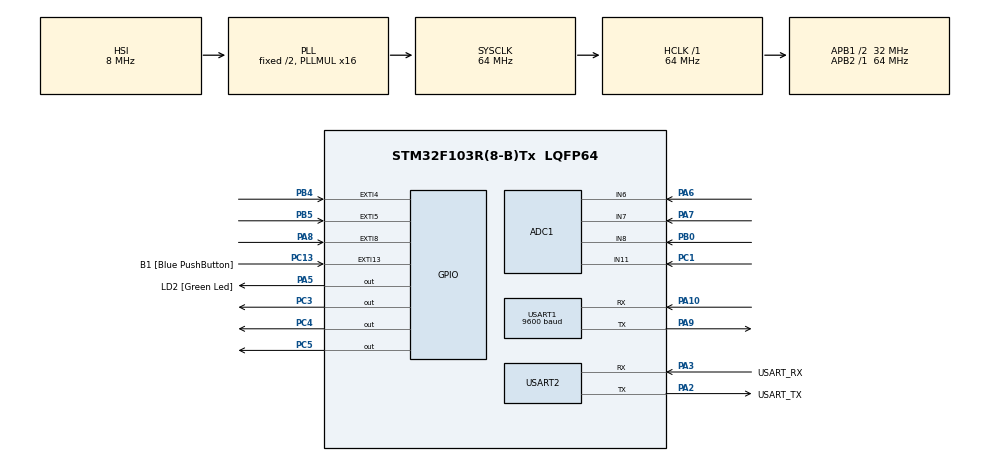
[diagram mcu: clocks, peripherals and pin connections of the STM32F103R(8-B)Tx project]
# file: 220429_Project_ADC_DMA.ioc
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ADC1.Channel-0\#ChannelRegularConversion=ADC_CHANNEL_6
ADC1.Channel-1\#ChannelRegularConversion=ADC_CHANNEL_7
ADC1.Channel-2\#ChannelRegularConversion=ADC_CHANNEL_8
ADC1.Channel-3\#ChannelRegularConversion=ADC_CHANNEL_11
ADC1.ContinuousConvMode=ENABLE
ADC1.NbrOfConversion=4
ADC1.NbrOfConversionFlag=1
ADC1.Rank-0\#ChannelRegularConversion=1
ADC1.Rank-1\#ChannelRegularConversion=2
ADC1.Rank-2\#ChannelRegularConversion=3
ADC1.Rank-3\#ChannelRegularConversion=4
ADC1.SamplingTime-0\#ChannelRegularConversion=ADC_SAMPLETIME_239CYCLES_5
ADC1.SamplingTime-1\#ChannelRegularConversion=ADC_SAMPLETIME_239CYCLES_5
ADC1.SamplingTime-2\#ChannelRegularConversion=ADC_SAMPLETIME_239CYCLES_5
ADC1.SamplingTime-3\#ChannelRegularConversion=ADC_SAMPLETIME_239CYCLES_5
ADC1.master=1
Dma.ADC1.0.Direction=DMA_PERIPH_TO_MEMORY
Dma.ADC1.0.Instance=DMA1_Channel1
Dma.ADC1.0.MemDataAlignment=DMA_MDATAALIGN_WORD
Dma.ADC1.0.MemInc=DMA_MINC_ENABLE
Dma.ADC1.0.Mode=DMA_CIRCULAR
Dma.ADC1.0.PeriphDataAlignment=DMA_PDATAALIGN_WORD
Dma.ADC1.0.PeriphInc=DMA_PINC_DISABLE
Dma.ADC1.0.Priority=DMA_PRIORITY_LOW
Dma.Request0=ADC1
Mcu.Family=STM32F1
Mcu.Name=STM32F103R(8-B)Tx
Mcu.Package=LQFP64
NVIC.DMA1_Channel1_IRQn=true\:0\:0\:false\:false\:true\:false\:true\:true
NVIC.EXTI15_10_IRQn=true\:0\:0\:false\:false\:true\:true\:true\:true
NVIC.EXTI4_IRQn=true\:0\:0\:false\:false\:true\:true\:true\:true
NVIC.EXTI9_5_IRQn=true\:0\:0\:false\:false\:true\:true\:true\:true
NVIC.PriorityGroup=NVIC_PRIORITYGROUP_4
PA10.Mode=Asynchronous
PA10.Signal=USART1_RX
PA13.GPIO_Label=TMS
PA13.Mode=Serial_Wire
PA13.Signal=SYS_JTMS-SWDIO
PA14.GPIO_Label=TCK
PA14.Mode=Serial_Wire
PA14.Signal=SYS_JTCK-SWCLK
PA2.GPIO_Label=USART_TX
PA2.GPIO_Mode=GPIO_MODE_AF_PP
PA2.GPIO_PuPd=GPIO_NOPULL
PA2.GPIO_Speed=GPIO_SPEED_FREQ_LOW
PA2.Mode=Asynchronous
PA2.Signal=USART2_TX
PA3.GPIO_Label=USART_RX
PA3.GPIO_Mode=GPIO_MODE_AF_PP
PA3.GPIO_PuPd=GPIO_NOPULL
PA3.GPIO_Speed=GPIO_SPEED_FREQ_LOW
PA3.Mode=Asynchronous
PA3.Signal=USART2_RX
PA5.GPIO_Label=LD2 [Green Led]
PA5.GPIO_ModeDefaultOutputPP=GPIO_MODE_OUTPUT_PP
PA5.GPIO_PuPd=GPIO_NOPULL
PA5.GPIO_Speed=GPIO_SPEED_FREQ_LOW
PA5.Signal=GPIO_Output
PA6.Signal=ADCx_IN6
PA7.Signal=ADCx_IN7
PA8.Signal=GPXTI8
PA9.Mode=Asynchronous
PA9.Signal=USART1_TX
PB0.Signal=ADCx_IN8
PB3.GPIO_Label=SWO
PB3.Signal=SYS_JTDO-TRACESWO
PB4.Signal=GPXTI4
PB5.Signal=GPXTI5
PC1.Signal=ADCx_IN11
PC13-TAMPER-RTC.GPIO_Label=B1 [Blue PushButton]
PC13-TAMPER-RTC.GPIO_PuPd=GPIO_NOPULL
PC13-TAMPER-RTC.Signal=GPXTI13
PC14-OSC32_IN.Mode=LSE-External-Oscillator
PC14-OSC32_IN.Signal=RCC_OSC32_IN
PC15-OSC32_OUT.Mode=LSE-External-Oscillator
PC15-OSC32_OUT.Signal=RCC_OSC32_OUT
PC3.Signal=GPIO_Output
PC4.Signal=GPIO_Output
PC5.Signal=GPIO_Output
PD0-OSC_IN.Mode=HSE-External-Clock-Source
PD0-OSC_IN.Signal=RCC_OSC_IN
PD1-OSC_OUT.Mode=HSE-External-Clock-Source
PD1-OSC_OUT.Signal=RCC_OSC_OUT
ProjectManager.HeapSize=0x200
ProjectManager.StackSize=0x400
ProjectManager.TargetToolchain=STM32CubeIDE
RCC.ADCPresc=RCC_ADCPCLK2_DIV8
RCC.AHBFreq_Value=64000000
RCC.APB1CLKDivider=RCC_HCLK_DIV2
RCC.APB1Freq_Value=32000000
RCC.APB1TimFreq_Value=64000000
RCC.APB2Freq_Value=64000000
RCC.APB2TimFreq_Value=64000000
RCC.HCLKFreq_Value=64000000
RCC.PLLMUL=RCC_PLL_MUL16
RCC.RTCClockSelection=RCC_RTCCLKSOURCE_LSE
RCC.SYSCLKFreq_VALUE=64000000
RCC.SYSCLKSource=RCC_SYSCLKSOURCE_PLLCLK
RCC.USBFreq_Value=64000000
SH.ADCx_IN11.0=ADC1_IN11,IN11
SH.ADCx_IN6.0=ADC1_IN6,IN6
SH.ADCx_IN7.0=ADC1_IN7,IN7
SH.ADCx_IN8.0=ADC1_IN8,IN8
USART1.BaudRate=9600
USART1.VirtualMode=VM_ASYNC
USART2.VirtualMode=VM_ASYNC
board=NUCLEO-F103RB

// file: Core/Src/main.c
/* USER CODE BEGIN Header */
/**
  ******************************************************************************
  * @file           : main.c
  * @brief          : Main program body
  ******************************************************************************
  * @attention
  *
  * Copyright (c) 2022 STMicroelectronics.
  * All rights reserved.
  *
  * This software is licensed under terms that can be found in the LICENSE file
  * in the root directory of this software component.
  * If no LICENSE file comes with this software, it is provided AS-IS.
  *
  ******************************************************************************
  */
/* USER CODE END Header */
#include "main.h"

/* USER CODE BEGIN PTD */
#ifdef __GNUC__
/* With GCC, small printf (option LD Linker->Libraries->Small printf
   set to 'Yes') calls __io_putchar() */
#define PUTCHAR_PROTOTYPE int __io_putchar(int ch)
#else
#define PUTCHAR_PROTOTYPE int fputc(int ch, FILE *f)
#endif /* __GNUC__ */
/* USER CODE END PTD */

 ADC_HandleTypeDef hadc1;
DMA_HandleTypeDef hdma_adc1;

UART_HandleTypeDef huart1;
UART_HandleTypeDef huart2;

void SystemClock_Config(void);
static void MX_GPIO_Init(void);
static void MX_DMA_Init(void);
static void MX_USART2_UART_Init(void);
static void MX_ADC1_Init(void);
static void MX_USART1_UART_Init(void);

/* USER CODE BEGIN 0 */
//uint16_t state[4][2000] = {0};
uint16_t preVal1;
uint16_t preVal2;
uint16_t preVal3;
uint16_t preVal4;
uint16_t compare = 0;
int idx = 0;

int tx_val[5];
int dma_val[4];

void getAdc(void){
	uint16_t adcResult1 = 0;
	uint16_t adcResult2 = 0;
	uint16_t adcResult3 = 0;
	uint16_t adcResult4 = 0;
	  int nowVal1 = dma_val[0]*180/78;
	  if(nowVal1 >1800) nowVal1 = 1800;
	  if(nowVal1 >=preVal1+ 20 ||nowVal1 <=preVal1- 20) 	preVal1 = nowVal1;
	  adcResult1 = preVal1+600;

	  int nowVal2 = dma_val[1]*180/78;
	  if(nowVal2 >1800) nowVal2 = 1800;
	  if(nowVal2 >=preVal2+ 20 ||nowVal2 <=preVal2- 20) 	preVal2 = nowVal2;
	  adcResult2 = preVal2+600;

	  int nowVal3 = dma_val[2]*180/78;
	  if(nowVal3 >1800) nowVal3 = 1800;
	  if(nowVal3 >=preVal3+ 20 ||nowVal3 <=preVal2- 20) 	preVal3 = nowVal3;
	  adcResult3 = preVal3+600;

	  int nowVal4 = dma_val[3]*500/780;
	  if(nowVal4 >500) nowVal4 = 500;
	  if(nowVal4 >=preVal4+ 20 ||nowVal4 <=preVal4- 20) 	preVal4 = nowVal4;
	  adcResult4 = preVal4+600;

	  if(tx_val[0] + 1 < (3000-adcResult1)/10 || tx_val[0] - 1 > (3000-adcResult1)/10 )  tx_val[0] = (3000-adcResult1)/10;
	  if(tx_val[1] + 1 < (3000-adcResult2)/10 || tx_val[1] - 1 > (3000-adcResult2)/10 )  tx_val[1] = (3000-adcResult2)/10;
	  if(tx_val[2] + 1 < (3000-adcResult3)/10 || tx_val[2] - 1 > (3000-adcResult3)/10 )  tx_val[2] = (3000-adcResult3)/10;
	  if(tx_val[3] + 1 < (3000-adcResult4)/10 || tx_val[3] - 1 > (3000-adcResult4)/10 )  tx_val[3] = adcResult4/10;

	  TxData();
}

void TxData(void){
	  HAL_UART_Transmit(&huart1, &tx_val[0],1,100);
	  HAL_UART_Transmit(&huart1, &tx_val[1],1,100);
	  HAL_UART_Transmit(&huart1, &tx_val[2],1,100);
	  HAL_UART_Transmit(&huart1, &tx_val[3],1,100);
	  HAL_UART_Transmit(&huart1, &tx_val[4],1,100);
}
/* USER CODE END 0 */

int main(void)
{

  /* MCU Configuration--------------------------------------------------------*/

  /* Reset of all peripherals, Initializes the Flash interface and the Systick. */
  HAL_Init();

  /* Configure the system clock */
  SystemClock_Config();

  /* Initialize all configured peripherals */
  MX_GPIO_Init();
  MX_DMA_Init();
  MX_USART2_UART_Init();
  MX_ADC1_Init();
  MX_USART1_UART_Init();
  /* USER CODE BEGIN 2 */
  HAL_ADC_Start_DMA(&hadc1, dma_val, 4);
  /* USER CODE END 2 */

  /* Infinite loop */
  /* USER CODE BEGIN WHILE */
  while (1)
  {

	  tx_val[4] = compare;
	  	 if(compare ==0){
	  	    getAdc();
	    }
	  	else if(compare ==1){
	  		getAdc();
	  		printf("store....\n\r\n\r");
	  		HAL_Delay(20);
	  	}

	  	else if(compare ==2){
	  		printf("replay....\n\r\n\r");
	  		HAL_UART_Transmit(&huart1, &tx_val[4],1,100);
	  		HAL_Delay(10);
	  	}

    /* USER CODE END WHILE */

  }
}

void SystemClock_Config(void)
{
  RCC_OscInitTypeDef RCC_OscInitStruct = {0};
  RCC_ClkInitTypeDef RCC_ClkInitStruct = {0};
  RCC_PeriphCLKInitTypeDef PeriphClkInit = {0};

  /** Initializes the RCC Oscillators according to the specified parameters
  * in the RCC_OscInitTypeDef structure.
  */
  RCC_OscInitStruct.OscillatorType = RCC_OSCILLATORTYPE_HSI;
  RCC_OscInitStruct.HSIState = RCC_HSI_ON;
  RCC_OscInitStruct.HSICalibrationValue = RCC_HSICALIBRATION_DEFAULT;
  RCC_OscInitStruct.PLL.PLLState = RCC_PLL_ON;
  RCC_OscInitStruct.PLL.PLLSource = RCC_PLLSOURCE_HSI_DIV2;
  RCC_OscInitStruct.PLL.PLLMUL = RCC_PLL_MUL16;
  if (HAL_RCC_OscConfig(&RCC_OscInitStruct) != HAL_OK)
  {
    Error_Handler();
  }

  /** Initializes the CPU, AHB and APB buses clocks
  */
  RCC_ClkInitStruct.ClockType = RCC_CLOCKTYPE_HCLK|RCC_CLOCKTYPE_SYSCLK
                              |RCC_CLOCKTYPE_PCLK1|RCC_CLOCKTYPE_PCLK2;
  RCC_ClkInitStruct.SYSCLKSource = RCC_SYSCLKSOURCE_PLLCLK;
  RCC_ClkInitStruct.AHBCLKDivider = RCC_SYSCLK_DIV1;
  RCC_ClkInitStruct.APB1CLKDivider = RCC_HCLK_DIV2;
  RCC_ClkInitStruct.APB2CLKDivider = RCC_HCLK_DIV1;

  if (HAL_RCC_ClockConfig(&RCC_ClkInitStruct, FLASH_LATENCY_2) != HAL_OK)
  {
    Error_Handler();
  }
  PeriphClkInit.PeriphClockSelection = RCC_PERIPHCLK_ADC;
  PeriphClkInit.AdcClockSelection = RCC_ADCPCLK2_DIV8;
  if (HAL_RCCEx_PeriphCLKConfig(&PeriphClkInit) != HAL_OK)
  {
    Error_Handler();
  }
}

static void MX_ADC1_Init(void)
{

  ADC_ChannelConfTypeDef sConfig = {0};

  /** Common config
  */
  hadc1.Instance = ADC1;
  hadc1.Init.ScanConvMode = ADC_SCAN_ENABLE;
  hadc1.Init.ContinuousConvMode = ENABLE;
  hadc1.Init.DiscontinuousConvMode = DISABLE;
  hadc1.Init.ExternalTrigConv = ADC_SOFTWARE_START;
  hadc1.Init.DataAlign = ADC_DATAALIGN_RIGHT;
  hadc1.Init.NbrOfConversion = 4;
  if (HAL_ADC_Init(&hadc1) != HAL_OK)
  {
    Error_Handler();
  }

  /** Configure Regular Channel
  */
  sConfig.Channel = ADC_CHANNEL_6;
  sConfig.Rank = ADC_REGULAR_RANK_1;
  sConfig.SamplingTime = ADC_SAMPLETIME_239CYCLES_5;
  if (HAL_ADC_ConfigChannel(&hadc1, &sConfig) != HAL_OK)
  {
    Error_Handler();
  }

  /** Configure Regular Channel
  */
  sConfig.Channel = ADC_CHANNEL_7;
  sConfig.Rank = ADC_REGULAR_RANK_2;
  if (HAL_ADC_ConfigChannel(&hadc1, &sConfig) != HAL_OK)
  {
    Error_Handler();
  }

  /** Configure Regular Channel
  */
  sConfig.Channel = ADC_CHANNEL_8;
  sConfig.Rank = ADC_REGULAR_RANK_3;
  if (HAL_ADC_ConfigChannel(&hadc1, &sConfig) != HAL_OK)
  {
    Error_Handler();
  }

  /** Configure Regular Channel
  */
  sConfig.Channel = ADC_CHANNEL_11;
  sConfig.Rank = ADC_REGULAR_RANK_4;
  if (HAL_ADC_ConfigChannel(&hadc1, &sConfig) != HAL_OK)
  {
    Error_Handler();
  }

}

static void MX_USART1_UART_Init(void)
{

  huart1.Instance = USART1;
  huart1.Init.BaudRate = 9600;
  huart1.Init.WordLength = UART_WORDLENGTH_8B;
  huart1.Init.StopBits = UART_STOPBITS_1;
  huart1.Init.Parity = UART_PARITY_NONE;
  huart1.Init.Mode = UART_MODE_TX_RX;
  huart1.Init.HwFlowCtl = UART_HWCONTROL_NONE;
  huart1.Init.OverSampling = UART_OVERSAMPLING_16;
  if (HAL_UART_Init(&huart1) != HAL_OK)
  {
    Error_Handler();
  }

}

static void MX_USART2_UART_Init(void)
{

  huart2.Instance = USART2;
  huart2.Init.BaudRate = 115200;
  huart2.Init.WordLength = UART_WORDLENGTH_8B;
  huart2.Init.StopBits = UART_STOPBITS_1;
  huart2.Init.Parity = UART_PARITY_NONE;
  huart2.Init.Mode = UART_MODE_TX_RX;
  huart2.Init.HwFlowCtl = UART_HWCONTROL_NONE;
  huart2.Init.OverSampling = UART_OVERSAMPLING_16;
  if (HAL_UART_Init(&huart2) != HAL_OK)
  {
    Error_Handler();
  }

}

static void MX_DMA_Init(void)
{

  /* DMA controller clock enable */
  __HAL_RCC_DMA1_CLK_ENABLE();

  /* DMA interrupt init */
  /* DMA1_Channel1_IRQn interrupt configuration */
  HAL_NVIC_SetPriority(DMA1_Channel1_IRQn, 0, 0);
  HAL_NVIC_EnableIRQ(DMA1_Channel1_IRQn);

}

static void MX_GPIO_Init(void)
{
  GPIO_InitTypeDef GPIO_InitStruct = {0};

  /* GPIO Ports Clock Enable */
  __HAL_RCC_GPIOC_CLK_ENABLE();
  __HAL_RCC_GPIOD_CLK_ENABLE();
  __HAL_RCC_GPIOA_CLK_ENABLE();
  __HAL_RCC_GPIOB_CLK_ENABLE();

  /*Configure GPIO pin Output Level */
  HAL_GPIO_WritePin(GPIOC, GPIO_PIN_3|GPIO_PIN_4|GPIO_PIN_5, GPIO_PIN_RESET);

  /*Configure GPIO pin Output Level */
  HAL_GPIO_WritePin(LD2_GPIO_Port, LD2_Pin, GPIO_PIN_RESET);

  /*Configure GPIO pin : B1_Pin */
  GPIO_InitStruct.Pin = B1_Pin;
  GPIO_InitStruct.Mode = GPIO_MODE_IT_RISING;
  GPIO_InitStruct.Pull = GPIO_NOPULL;
  HAL_GPIO_Init(B1_GPIO_Port, &GPIO_InitStruct);

  /*Configure GPIO pins : PC3 PC4 PC5 */
  GPIO_InitStruct.Pin = GPIO_PIN_3|GPIO_PIN_4|GPIO_PIN_5;
  GPIO_InitStruct.Mode = GPIO_MODE_OUTPUT_PP;
  GPIO_InitStruct.Pull = GPIO_NOPULL;
  GPIO_InitStruct.Speed = GPIO_SPEED_FREQ_LOW;
  HAL_GPIO_Init(GPIOC, &GPIO_InitStruct);

  /*Configure GPIO pin : LD2_Pin */
  GPIO_InitStruct.Pin = LD2_Pin;
  GPIO_InitStruct.Mode = GPIO_MODE_OUTPUT_PP;
  GPIO_InitStruct.Pull = GPIO_NOPULL;
  GPIO_InitStruct.Speed = GPIO_SPEED_FREQ_LOW;
  HAL_GPIO_Init(LD2_GPIO_Port, &GPIO_InitStruct);

  /*Configure GPIO pin : PA8 */
  GPIO_InitStruct.Pin = GPIO_PIN_8;
  GPIO_InitStruct.Mode = GPIO_MODE_IT_RISING;
  GPIO_InitStruct.Pull = GPIO_NOPULL;
  HAL_GPIO_Init(GPIOA, &GPIO_InitStruct);

  /*Configure GPIO pins : PB4 PB5 */
  GPIO_InitStruct.Pin = GPIO_PIN_4|GPIO_PIN_5;
  GPIO_InitStruct.Mode = GPIO_MODE_IT_RISING;
  GPIO_InitStruct.Pull = GPIO_NOPULL;
  HAL_GPIO_Init(GPIOB, &GPIO_InitStruct);

  /* EXTI interrupt init*/
  HAL_NVIC_SetPriority(EXTI4_IRQn, 0, 0);
  HAL_NVIC_EnableIRQ(EXTI4_IRQn);

  HAL_NVIC_SetPriority(EXTI9_5_IRQn, 0, 0);
  HAL_NVIC_EnableIRQ(EXTI9_5_IRQn);

  HAL_NVIC_SetPriority(EXTI15_10_IRQn, 0, 0);
  HAL_NVIC_EnableIRQ(EXTI15_10_IRQn);

}

/* USER CODE BEGIN 4 */
PUTCHAR_PROTOTYPE
{
  /* Place your implementation of fputc here */
  /* e.g. write a character to the USART1 and Loop until the end of transmission */
  HAL_UART_Transmit(&huart2,(uint8_t *)&ch, 1, 0xFFFF);

  return ch;
}

void HAL_GPIO_EXTI_Callback(uint16_t GPIO_Pin){

	if(GPIO_Pin == GPIO_PIN_8){
		compare =0;
		HAL_GPIO_WritePin(GPIOC,GPIO_PIN_3,GPIO_PIN_SET);
		HAL_GPIO_WritePin(GPIOC,GPIO_PIN_4,GPIO_PIN_RESET);
		HAL_GPIO_WritePin(GPIOC,GPIO_PIN_5,GPIO_PIN_RESET);
	}
	if(GPIO_Pin == GPIO_PIN_4){
		compare = 1;
		HAL_GPIO_WritePin(GPIOC,GPIO_PIN_3,GPIO_PIN_RESET);
		HAL_GPIO_WritePin(GPIOC,GPIO_PIN_4,GPIO_PIN_SET);
		HAL_GPIO_WritePin(GPIOC,GPIO_PIN_5,GPIO_PIN_RESET);
	}
	if(GPIO_Pin == GPIO_PIN_5){
		compare = 2;
		HAL_GPIO_WritePin(GPIOC,GPIO_PIN_3,GPIO_PIN_RESET);
		HAL_GPIO_WritePin(GPIOC,GPIO_PIN_4,GPIO_PIN_RESET);
		HAL_GPIO_WritePin(GPIOC,GPIO_PIN_5,GPIO_PIN_SET);
	}
}
/* USER CODE END 4 */

void Error_Handler(void)
{
  __disable_irq();
  while (1)
  {
  }
}
